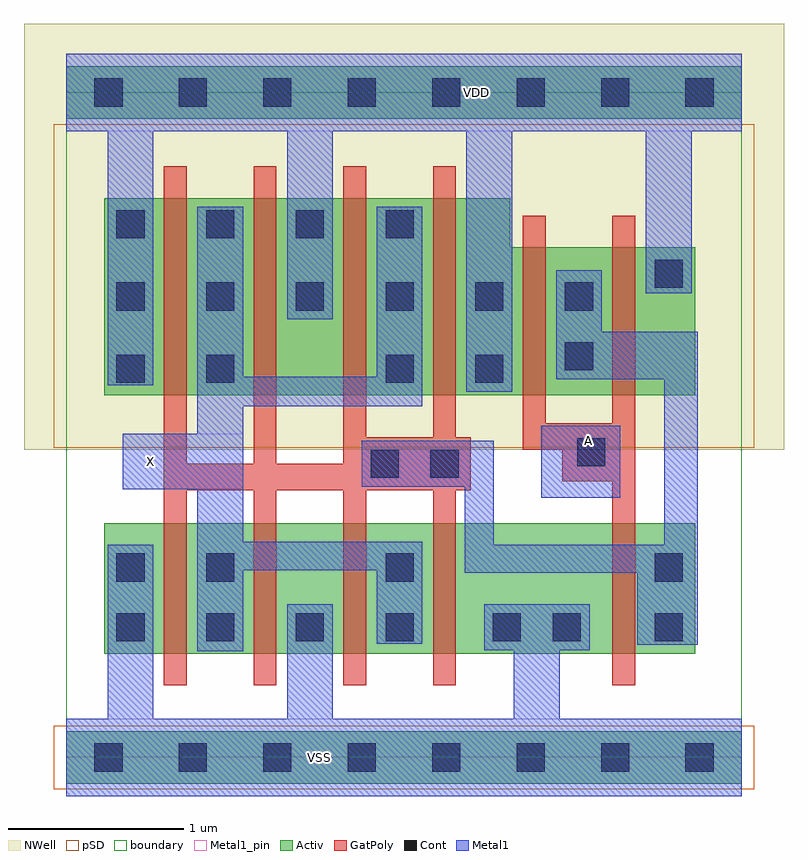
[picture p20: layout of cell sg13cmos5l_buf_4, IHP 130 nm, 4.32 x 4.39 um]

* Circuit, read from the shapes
.subckt sg13cmos5l_buf_4 A VDD VSS X
XM1 X n1 VSS VSS sg13_lv_nmos w=0.74u l=0.13u m=4
XM2 n1 A VSS VSS sg13_lv_nmos w=0.74u l=0.13u
XM3 X n1 VDD VDD sg13_lv_pmos w=1.12u l=0.13u m=4
XM4 n1 A VDD VDD sg13_lv_pmos w=0.84u l=0.13u m=2
.ends

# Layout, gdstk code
import gdstk
lib = gdstk.Library(unit=1e-6, precision=1e-09)
def R(c, l, rs):  # rectangles x0, y0, x1, y1
    for r in rs: c.add(gdstk.rectangle(r[:2], r[2:], *l))
def A(c, l, x, y, w, h, nx, ny, dx, dy):  # array of equal rectangles
    R(c, l, [(x+i*dx, y+j*dy, x+i*dx+w, y+j*dy+h) for i in range(nx) for j in range(ny)])
def P(c, l, *ps):  # polygons
    for p in ps: c.add(gdstk.Polygon(p, *l))
Activ = (1, 0)
GatPoly = (5, 0)
Cont = (6, 0)
Metal1 = (8, 0)
Metal1_pin = (8, 2)
pSD = (14, 0)
NWell = (31, 0)
boundary = (189, 4)

sg13cmos5l_buf_4 = lib.new_cell('sg13cmos5l_buf_4')
R(sg13cmos5l_buf_4, Activ, [(0,-0.15,3.84,0.15), (0.215,0.59,3.575,1.33), (0,3.63,3.84,3.93)])
P(sg13cmos5l_buf_4, Activ, [(0.215,2.06),(0.215,3.18),(2.525,3.18),(2.525,2.9),(3.575,2.9),(3.575,2.06)])
P(sg13cmos5l_buf_4, GatPoly, [(3.105,0.41),(3.105,1.57),(2.82,1.57),(2.82,1.75),(2.595,1.75),(2.595,3.08),(2.725,3.08),(2.725,1.9),(3.105,1.9),(3.105,3.08),(3.235,3.08),(3.235,0.41)],
  [(0.555,0.41),(0.555,3.36),(0.685,3.36),(0.685,1.67),(1.065,1.67),(1.065,3.36),(1.195,3.36),(1.195,1.67),(1.575,1.67),(1.575,3.36),(1.705,3.36),(1.705,1.82),(2.085,1.82),(2.085,3.36),(2.215,3.36),(2.215,1.82),(2.3,1.82),(2.3,1.52),(2.215,1.52),(2.215,0.41),(2.085,0.41),(2.085,1.52),(1.705,1.52),(1.705,0.41),(1.575,0.41),(1.575,1.52),(1.195,1.52),(1.195,0.41),(1.065,0.41),(1.065,1.52),(0.685,1.52),(0.685,0.41)])
A(sg13cmos5l_buf_4, Cont, 0.285, 0.66, 0.16, 0.16, 4, 2, 0.51, 2.29)
A(sg13cmos5l_buf_4, Cont, 0.285, 2.54, 0.16, 0.16, 6, 1, 0.51, 0)
R(sg13cmos5l_buf_4, Cont, [(0.16,-0.08,0.32,0.08), (0.16,-0.08,0.32,0.08), (0.64,-0.08,0.8,0.08), (0.64,-0.08,0.8,0.08), (1.12,-0.08,1.28,0.08), (1.12,-0.08,1.28,0.08), (1.6,-0.08,1.76,0.08), (1.6,-0.08,1.76,0.08), (2.08,-0.08,2.24,0.08), (2.08,-0.08,2.24,0.08), (2.56,-0.08,2.72,0.08), (2.56,-0.08,2.72,0.08), (3.04,-0.08,3.2,0.08), (3.04,-0.08,3.2,0.08), (3.52,-0.08,3.68,0.08), (3.52,-0.08,3.68,0.08), (2.425,0.66,2.585,0.82), (2.765,0.66,2.925,0.82), (3.345,0.66,3.505,0.82), (0.285,1,0.445,1.16), (0.795,1,0.955,1.16), (1.815,1,1.975,1.16), (3.345,1,3.505,1.16), (1.73,1.59,1.89,1.75), (2.07,1.59,2.23,1.75), (2.905,1.655,3.065,1.815), (0.285,2.13,0.445,2.29), (0.795,2.13,0.955,2.29), (1.815,2.13,1.975,2.29), (2.325,2.13,2.485,2.29), (2.835,2.2,2.995,2.36), (3.345,2.67,3.505,2.83), (0.16,3.7,0.32,3.86), (0.16,3.7,0.32,3.86), (0.64,3.7,0.8,3.86), (0.64,3.7,0.8,3.86), (1.12,3.7,1.28,3.86), (1.12,3.7,1.28,3.86), (1.6,3.7,1.76,3.86), (1.6,3.7,1.76,3.86), (2.08,3.7,2.24,3.86), (2.08,3.7,2.24,3.86), (2.56,3.7,2.72,3.86), (2.56,3.7,2.72,3.86), (3.04,3.7,3.2,3.86), (3.04,3.7,3.2,3.86), (3.52,3.7,3.68,3.86), (3.52,3.7,3.68,3.86)])
R(sg13cmos5l_buf_4, Metal1, [(2.7,1.475,3.15,1.885)])
P(sg13cmos5l_buf_4, Metal1, [(0.745,0.605),(0.745,1.525),(0.32,1.525),(0.32,1.84),(0.745,1.84),(0.745,3.13),(1.005,3.13),(1.005,2.165),(1.765,2.165),(1.765,3.13),(2.025,3.13),(2.025,1.995),(1.005,1.995),(1.005,1.225),(2.025,1.225),(2.025,0.645),(1.765,0.645),(1.765,1.065),(1.005,1.065),(1.005,0.605)],
  [(3.245,0.64),(3.245,1.05),(2.265,1.05),(2.265,1.54),(1.68,1.54),(1.68,1.8),(2.43,1.8),(2.43,1.21),(3.4,1.21),(3.4,2.15),(2.785,2.15),(2.785,2.77),(3.045,2.77),(3.045,2.42),(3.59,2.42),(3.59,0.64)],
  [(2.275,2.08),(2.275,3.56),(1.515,3.56),(1.515,2.49),(1.255,2.49),(1.255,3.56),(0.495,3.56),(0.495,2.115),(0.235,2.115),(0.235,3.56),(0,3.56),(0,4),(3.84,4),(3.84,3.56),(3.555,3.56),(3.555,2.64),(3.295,2.64),(3.295,3.56),(2.535,3.56),(2.535,2.08)],
  [(0,-0.22),(0,0.22),(0.235,0.22),(0.235,1.21),(0.495,1.21),(0.495,0.22),(1.255,0.22),(1.255,0.87),(1.515,0.87),(1.515,0.22),(2.545,0.22),(2.545,0.61),(2.375,0.61),(2.375,0.87),(2.975,0.87),(2.975,0.61),(2.805,0.61),(2.805,0.22),(3.84,0.22),(3.84,-0.22)])
R(sg13cmos5l_buf_4, Metal1_pin, [(0,-0.22,3.84,0.22), (2.7,1.475,3.15,1.885), (0.32,1.525,1.005,1.84), (0,3.56,3.84,4)])
R(sg13cmos5l_buf_4, pSD, [(-0.07,-0.18,3.91,0.18), (-0.07,1.76,3.91,3.6)])
R(sg13cmos5l_buf_4, NWell, [(-0.24,1.75,4.08,4.17)])
R(sg13cmos5l_buf_4, boundary, [(0,0,3.84,3.78)])
sg13cmos5l_buf_4.add(gdstk.Label('X', (0.48,1.68), layer=8, texttype=25))
sg13cmos5l_buf_4.add(gdstk.Label('VSS', (1.44,0), layer=8, texttype=25))
sg13cmos5l_buf_4.add(gdstk.Label('A', (2.97,1.8), layer=8, texttype=25))
sg13cmos5l_buf_4.add(gdstk.Label('VDD', (2.33,3.78), layer=8, texttype=25))

lib.write_gds('sg13cmos5l_buf_4.gds')
